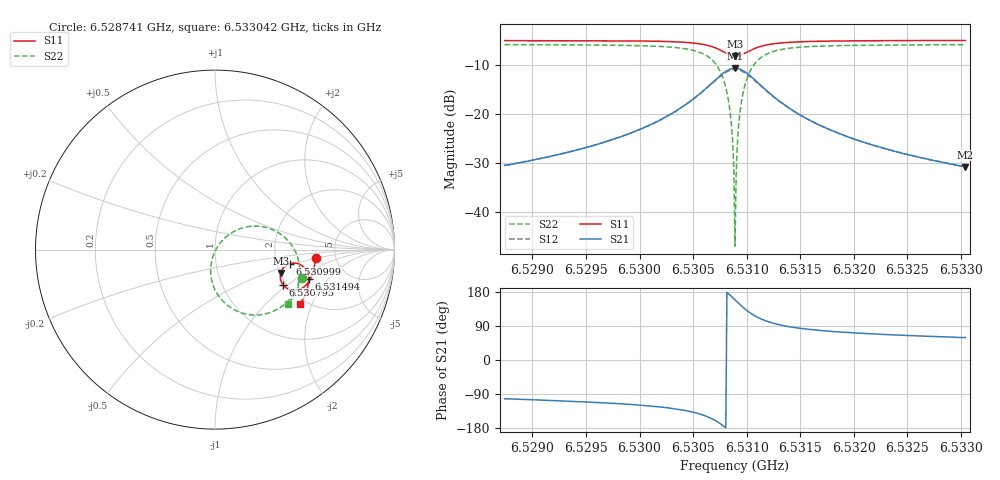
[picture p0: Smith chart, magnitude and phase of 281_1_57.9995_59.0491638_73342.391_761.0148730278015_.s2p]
#  HZ  S  RI  R  50.00
! Rohde & Schwarz Vector Network Analyzer
! Rohde-Schwarz,ZNB20-2Port,1311601062101988,3.16
! Created: UTC 3/21/2024, 1:02:52 AM
! freq[Hz]  re:S11  im:S11  re:S21  im:S21  re:S12  im:S12  re:S22  im:S22
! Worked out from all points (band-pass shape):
!   401 points, 6.528741 GHz to 6.533042 GHz, reference 50 ohm
!   highest |S21| = -10.64 dB at 6.530891 GHz (marker M1); lowest = -30.8 dB at 6.533042 GHz (marker M2)
!   |S21| within 3 dB of the highest: 6.530677 GHz to 6.531107 GHz (429.6 kHz wide, 0.00658 % of centre)
!   lowest |S11| = -8.2 dB at 6.530891 GHz (marker M3), VSWR 2.27, Z = 102 - j31 ohm
!   |S11| at or under -10 dB: nowhere
!   |S22| runs from -47.0 to -5.8 dB; largest |S21 - S12| = 0.011
!   S11 on the Smith chart (normalised r, x): 6.528741 GHz: 3.50, -0.46; 6.530795 GHz: 1.93, -0.92; 6.530999 GHz: 2.38, -0.45; 6.531494 GHz: 2.76, -1.27; 6.533042 GHz: 1.86, -1.65
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6.5287408e9  0.5601 -0.0453  -0.00645 -0.0292  -0.00692 -0.029  0.4856 -0.158
6.5294613e9  0.5512 -0.1049  -0.0153 -0.0416  -0.0163 -0.0411  0.4561 -0.2228
6.5301817e9  0.5243 -0.1754  -0.0474 -0.0713  -0.0493 -0.0702  0.3776 -0.3126
6.5306118e9  0.4563 -0.2259  -0.1506 -0.0969  -0.153 -0.091  0.1797 -0.3606
6.5307194e9  0.413 -0.2217  -0.2176 -0.072  -0.217 -0.0631  0.0668 -0.3083
6.5307946e9  0.3789 -0.196  -0.267 -0.0163  -0.2618 -0.0067  -0.0075 -0.2062
6.5308269e9  0.3684 -0.1769  -0.2802 0.0209  -0.2727 0.0291  -0.0228 -0.1428
6.5308484e9  0.3646 -0.1618  -0.2836 0.0487  -0.2747 0.0559  -0.0234 -0.0962
6.5308591e9  0.3639 -0.154  -0.2832 0.0633  -0.2739 0.0697  -0.0202 -0.0725
6.5308699e9  0.364 -0.1457  -0.2814 0.0781  -0.2717 0.0836  -0.0149 -0.0488
6.5308806e9  0.3649 -0.1375  -0.2781 0.0925  -0.2681 0.0972  -0.00689 -0.0256
6.5308914e9  0.3668 -0.1296  -0.2735 0.1068  -0.2632 0.1105  0.00321 -0.00311
6.5309129e9  0.3731 -0.1144  -0.2599 0.1335  -0.2499 0.1354  0.0299 0.0379
6.5309237e9  0.3773 -0.1075  -0.2514 0.1456  -0.2414 0.1466  0.0459 0.0561
6.5309452e9  0.3877 -0.0955  -0.2317 0.1665  -0.2223 0.166  0.0822 0.0869
6.5309989e9  0.4193 -0.0778  -0.1737 0.1976  -0.1672 0.195  0.1824 0.1277
6.5310635e9  0.4555 -0.0765  -0.1104 0.2015  -0.1067 0.1986  0.2886 0.1224
6.5311602e9  0.4913 -0.0945  -0.0485 0.1773  -0.0466 0.1756  0.3893 0.0673
6.5314936e9  0.5219 -0.1611  0.0105 0.0981  0.0117 0.0976  0.4713 -0.097
6.5316119e9  0.5218 -0.1781  0.0146 0.0826  0.0156 0.0823  0.4725 -0.1314
6.5323323e9  0.5027 -0.2502  0.0169 0.0397  0.0176 0.0393  0.4439 -0.2454
6.533042e9  0.4758 -0.3029  0.0147 0.0248  0.0154 0.0246  0.4086 -0.3057
